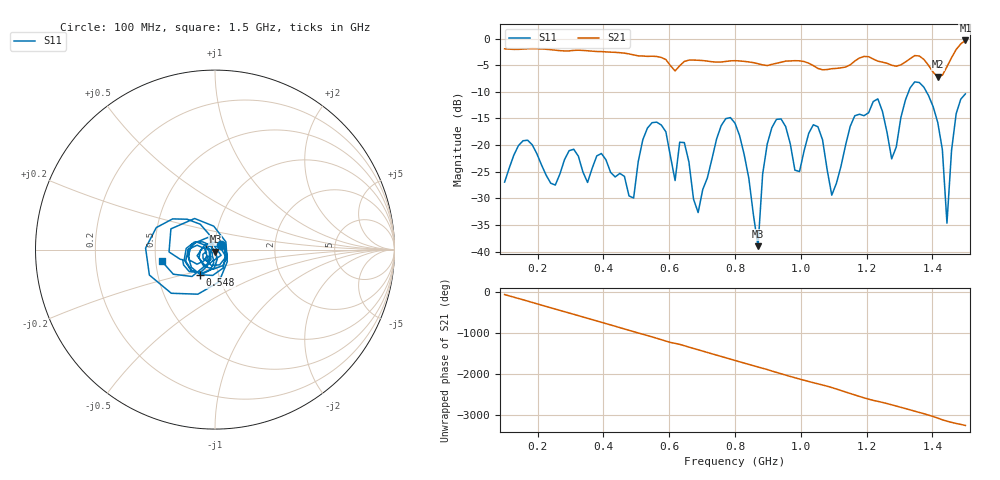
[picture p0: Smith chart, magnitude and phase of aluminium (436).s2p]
! NanoVNA-App
! Date: 2025-09-25 14:58:40
! Start: 100MHz Stop: 1,5GHz Points: 101
! S-Parameter data: F S11 S21 S12 S22
# Hz S RI R 50
!  Frequency  S11_Real  S11_Imag  S21_Real  S21_Imag  S12_Real  S12_Imag  S22_Real  S22_Imag
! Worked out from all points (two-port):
!   101 points, 100 MHz to 1.5 GHz, reference 50 ohm
!   highest |S21| = -0.35 dB at 1.5 GHz (marker M1); lowest = -7.2 dB at 1.416 GHz (marker M2)
!   |S21| within 3 dB of the highest: start of sweep to 560.7 MHz; 1.46 GHz to end of sweep (the widest 2 of 3)
!   lowest |S11| = -39.0 dB at 870 MHz (marker M3), VSWR 1.02, Z = 50.2 - j1.1 ohm
!   |S11| at or under -10 dB: start of sweep to 1.327 GHz; 1.382 GHz to end of sweep
!   S12 and S22 are empty: the file has one direction only
!   S11 on the Smith chart (normalised r, x): 100 MHz: 1.07, +0.06; 548 MHz: 0.82, -0.24; 1.5 GHz: 0.54, -0.08
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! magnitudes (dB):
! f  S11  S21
! 100 MHz  -27.0  -1.9
! 156 MHz  -19.2  -2.0
! 338 MHz  -25.1  -2.2
! 492 MHz  -29.9  -3.1
! 548 MHz  -15.8  -3.3
! 576 MHz  -16.2  -3.5
! 618 MHz  -26.7  -6.1
! 646 MHz  -19.5  -4.3
! 688 MHz  -32.7  -4.1
! 800 MHz  -15.9  -4.1
! 870 MHz  -39.0  -4.7
! 912 MHz  -16.7  -4.8
! 996 MHz  -25.0  -4.2
! 1.038 GHz  -16.2  -5.1
! 1.094 GHz  -29.4  -5.7
! 1.22 GHz  -11.8  -3.8
! 1.276 GHz  -22.6  -5.0
! 1.346 GHz  -8.1  -3.2
! 1.416 GHz  -15.7  -7.2
! 1.444 GHz  -34.7  -5.3
! 1.472 GHz  -14.1  -2.0
! 1.5 GHz  -10.4  -0.4
